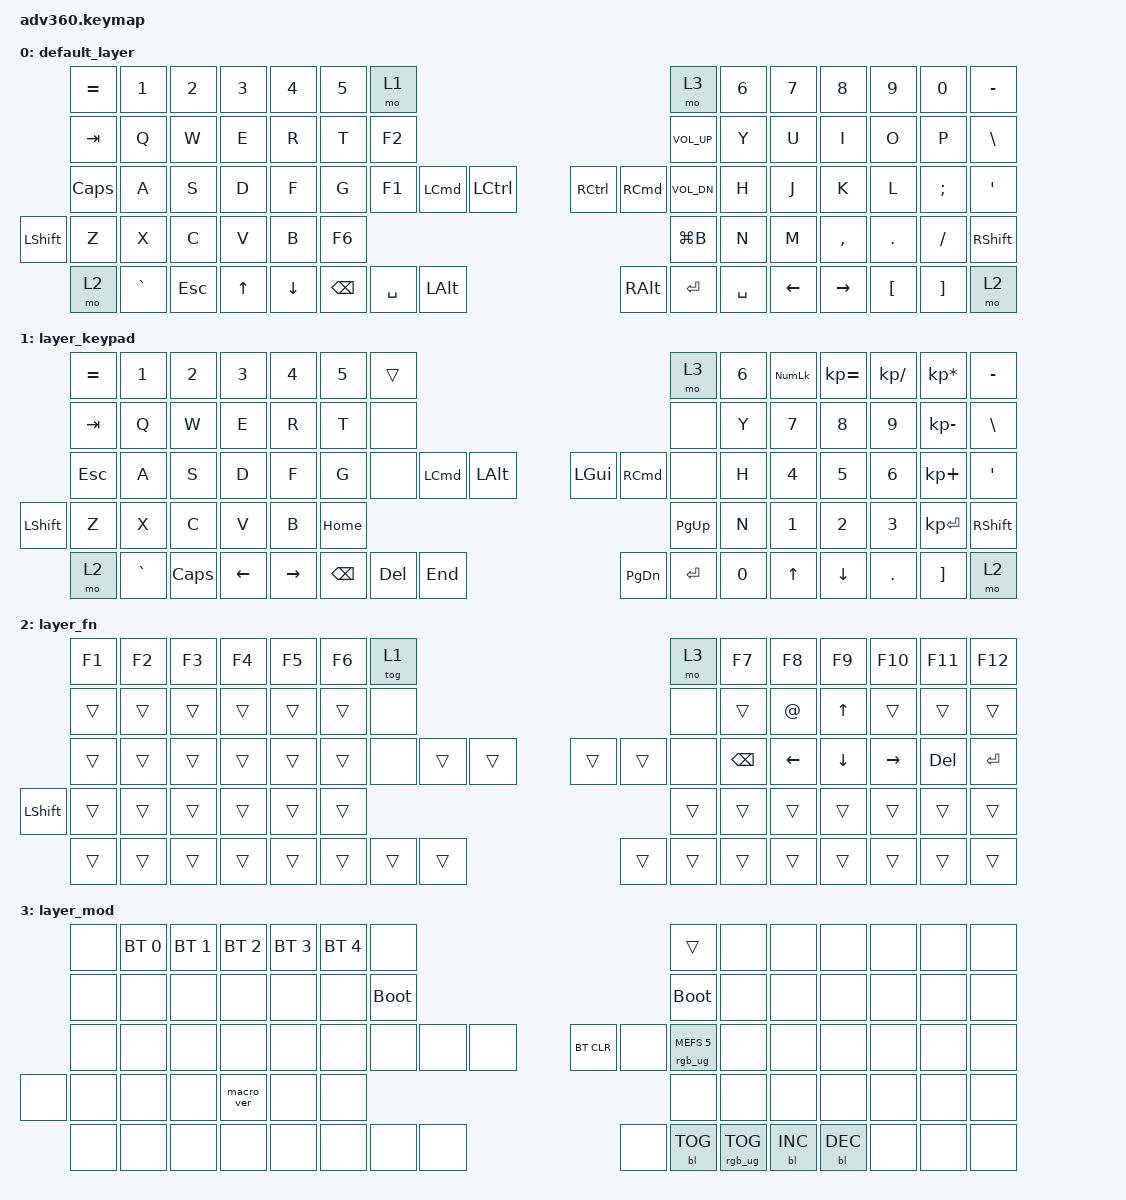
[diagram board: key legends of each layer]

/*
 * Copyright (c) 2020 The ZMK Contributors
 *
 * SPDX-License-Identifier: MIT
 */


/* THIS FILE WAS GENERATED!
 *
 * This file was generated automatically. You may or may not want to
 * edit it directly.
 */

#include <behaviors.dtsi>
#include <dt-bindings/zmk/keys.h>
#include <dt-bindings/zmk/bt.h>
#include <dt-bindings/zmk/rgb.h>
#include <dt-bindings/zmk/backlight.h>

/ {
  behaviors {
    #include "macros.dtsi"
    #include "version.dtsi"

    hm: homerow_mods {
        compatible = "zmk,behavior-hold-tap";
        label = "HOMEROW_MODS";
        #binding-cells = <2>;
        tapping-term-ms = <200>;
        quick_tap_ms = <175>;
        flavor = "tap-preferred";
        bindings = <&kp>, <&kp>;
    };
  };

    keymap {
        compatible = "zmk,keymap";


        default_layer {
            bindings = <
      &kp EQUAL     &kp N1   &kp N2  &kp N3    &kp N4  &kp N5               &mo 1                                                                                                  &mo 3  &kp N6    &kp N7     &kp N8    &kp N9    &kp N0  &kp MINUS
        &kp TAB      &kp Q    &kp W   &kp E     &kp R   &kp T              &kp F2                                                                                        &kp C_VOLUME_UP   &kp Y     &kp U      &kp I     &kp O     &kp P   &kp BSLH
       &kp CAPS      &kp A    &kp S   &kp D     &kp F   &kp G              &kp F1  &kp LEFT_COMMAND     &kp LCTRL                  &kp RIGHT_CONTROL  &kp RIGHT_COMMAND     &kp C_VOL_DN   &kp H     &kp J      &kp K     &kp L  &kp SEMI    &kp SQT
 &kp LEFT_SHIFT      &kp Z    &kp X   &kp C     &kp V   &kp B                                              &kp F6                          &kp LG(B)                                       &kp N     &kp M  &kp COMMA   &kp DOT  &kp FSLH  &kp RSHFT
          &mo 2  &kp GRAVE  &kp ESC  &kp UP  &kp DOWN                    &kp BSPC         &kp SPACE  &kp LEFT_ALT                      &kp RIGHT_ALT          &kp ENTER        &kp SPACE          &kp LEFT  &kp RIGHT  &kp LBKT  &kp RBKT      &mo 2
            >;
        };

        layer_keypad {
            bindings = <
 &kp EQUAL     &kp N1    &kp N2    &kp N3     &kp N4  &kp N5              &trans                                                                                   &mo 3  &kp N6    &kp KP_NUM  &kp KP_EQUAL  &kp KP_DIVIDE  &kp KP_MULTIPLY  &kp MINUS
   &kp TAB      &kp Q     &kp W     &kp E      &kp R   &kp T               &none                                                                                   &none   &kp Y  &kp NUMBER_7  &kp NUMBER_8   &kp NUMBER_9     &kp KP_MINUS   &kp BSLH
   &kp ESC      &kp A     &kp S     &kp D      &kp F   &kp G               &none  &kp LEFT_COMMAND  &kp LALT                   &kp LGUI  &kp RIGHT_COMMAND         &none   &kp H  &kp NUMBER_4  &kp NUMBER_5   &kp NUMBER_6      &kp KP_PLUS    &kp SQT
 &kp LSHFT      &kp Z     &kp X     &kp C      &kp V   &kp B                                        &kp HOME                  &kp PG_UP                                    &kp N  &kp NUMBER_1  &kp NUMBER_2   &kp NUMBER_3     &kp KP_ENTER  &kp RSHFT
     &mo 2  &kp GRAVE  &kp CAPS  &kp LEFT  &kp RIGHT                    &kp BSPC           &kp DEL   &kp END                  &kp PG_DN          &kp ENTER  &kp NUMBER_0                &kp UP      &kp DOWN        &kp DOT         &kp RBKT      &mo 2
            >;
        };

        layer_fn {
            bindings = <
         &kp F1  &kp F2  &kp F3  &kp F4  &kp F5  &kp F6            &tog 1                                                   &mo 3         &kp F7       &kp F8    &kp F9    &kp F10     &kp F11    &kp F12
         &trans  &trans  &trans  &trans  &trans  &trans             &none                                                   &none         &trans  &kp AT_SIGN    &kp UP     &trans      &trans     &trans
         &trans  &trans  &trans  &trans  &trans  &trans             &none  &trans  &trans                  &trans  &trans   &none  &kp BACKSPACE     &kp LEFT  &kp DOWN  &kp RIGHT  &kp DELETE  &kp ENTER
 &kp LEFT_SHIFT  &trans  &trans  &trans  &trans  &trans                            &trans                  &trans                         &trans       &trans    &trans     &trans      &trans     &trans
         &trans  &trans  &trans  &trans  &trans                    &trans  &trans  &trans                  &trans  &trans  &trans                      &trans    &trans     &trans      &trans     &trans
            >;
        };

        layer_mod {
            bindings = <
  &none  &bt BT_SEL 0  &bt BT_SEL 1  &bt BT_SEL 2  &bt BT_SEL 3  &bt BT_SEL 4                  &none                                                                          &trans   &none       &none       &none   &none   &none   &none
  &none         &none         &none         &none         &none         &none            &bootloader                                                                     &bootloader   &none       &none       &none   &none   &none   &none
  &none         &none         &none         &none         &none         &none                  &none   &none   &none                  &bt BT_CLR       &none  &rgb_ug RGB_MEFS_CMD 5   &none       &none       &none   &none   &none   &none
  &none         &none         &none         &none    &macro_ver         &none                                  &none                       &none                                       &none       &none       &none   &none   &none   &none
  &none         &none         &none         &none         &none                                &none   &none   &none                       &none  &bl BL_TOG         &rgb_ug RGB_TOG          &bl BL_INC  &bl BL_DEC   &none   &none   &none
            >;
        };

    };
};
